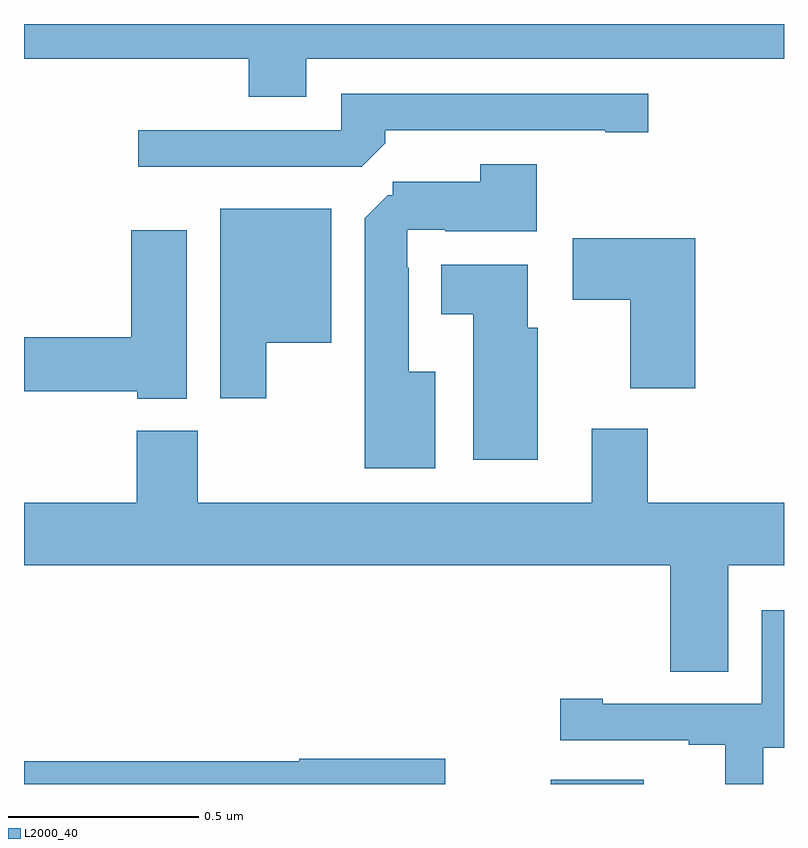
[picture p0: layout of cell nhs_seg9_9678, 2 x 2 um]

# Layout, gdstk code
import gdstk
lib = gdstk.Library(unit=1e-6, precision=1e-09)
def R(c, l, rs):  # rectangles x0, y0, x1, y1
    for r in rs: c.add(gdstk.rectangle(r[:2], r[2:], *l))
def P(c, l, *ps):  # polygons
    for p in ps: c.add(gdstk.Polygon(p, *l))
L2000_40 = (2000, 40)

nhs_seg9_9678 = lib.new_cell('nhs_seg9_9678')
R(nhs_seg9_9678, L2000_40, [(234.386,1206.5,234.631,1206.511)])
P(nhs_seg9_9678, L2000_40, [(233.743,1208.408),(235,1208.408),(235,1208.5),(233,1208.5),(233,1208.408),(233.591,1208.408),(233.591,1208.309),(233.743,1208.309)],
  [(233.951,1208.186),(233.951,1208.22),(234.53,1208.22),(234.53,1208.215),(234.643,1208.215),(234.643,1208.316),(233.835,1208.316),(233.835,1208.22),(233.301,1208.22),(233.301,1208.124),(233.889,1208.124)],
  [(234.082,1207.585),(234.013,1207.585),(234.013,1207.859),(234.009,1207.859),(234.009,1207.959),(234.109,1207.959),(234.109,1207.955),(234.349,1207.955),(234.349,1208.131),(234.2,1208.131),(234.2,1208.085),(233.97,1208.085),(233.97,1208.049),(233.957,1208.049),(233.897,1207.989),(233.897,1207.331),(234.082,1207.331)],
  [(233.638,1207.661),(233.809,1207.661),(233.809,1208.014),(233.516,1208.014),(233.516,1207.515),(233.638,1207.515)],
  [(233.428,1207.957),(233.282,1207.957),(233.282,1207.676),(233,1207.676),(233,1207.534),(233.298,1207.534),(233.298,1207.514),(233.428,1207.514)],
  [(234.766,1207.936),(234.444,1207.936),(234.444,1207.774),(234.596,1207.774),(234.596,1207.541),(234.766,1207.541)],
  [(234.352,1207.701),(234.325,1207.701),(234.325,1207.867),(234.098,1207.867),(234.098,1207.736),(234.182,1207.736),(234.182,1207.353),(234.352,1207.353)],
  [(234.853,1207.076),(235,1207.076),(235,1207.24),(234.642,1207.24),(234.642,1207.435),(234.494,1207.435),(234.494,1207.24),(233.457,1207.24),(233.457,1207.429),(233.297,1207.429),(233.297,1207.24),(233,1207.24),(233,1207.076),(234.701,1207.076),(234.701,1206.796),(234.853,1206.796)],
  [(234.945,1206.595),(235,1206.595),(235,1206.957),(234.942,1206.957),(234.942,1206.711),(234.523,1206.711),(234.523,1206.724),(234.411,1206.724),(234.411,1206.615),(234.749,1206.615),(234.749,1206.603),(234.845,1206.603),(234.845,1206.5),(234.945,1206.5)],
  [(234.109,1206.566),(233.724,1206.566),(233.724,1206.56),(233,1206.56),(233,1206.5),(234.109,1206.5)])

lib.write_gds('nhs_seg9_9678.gds')
